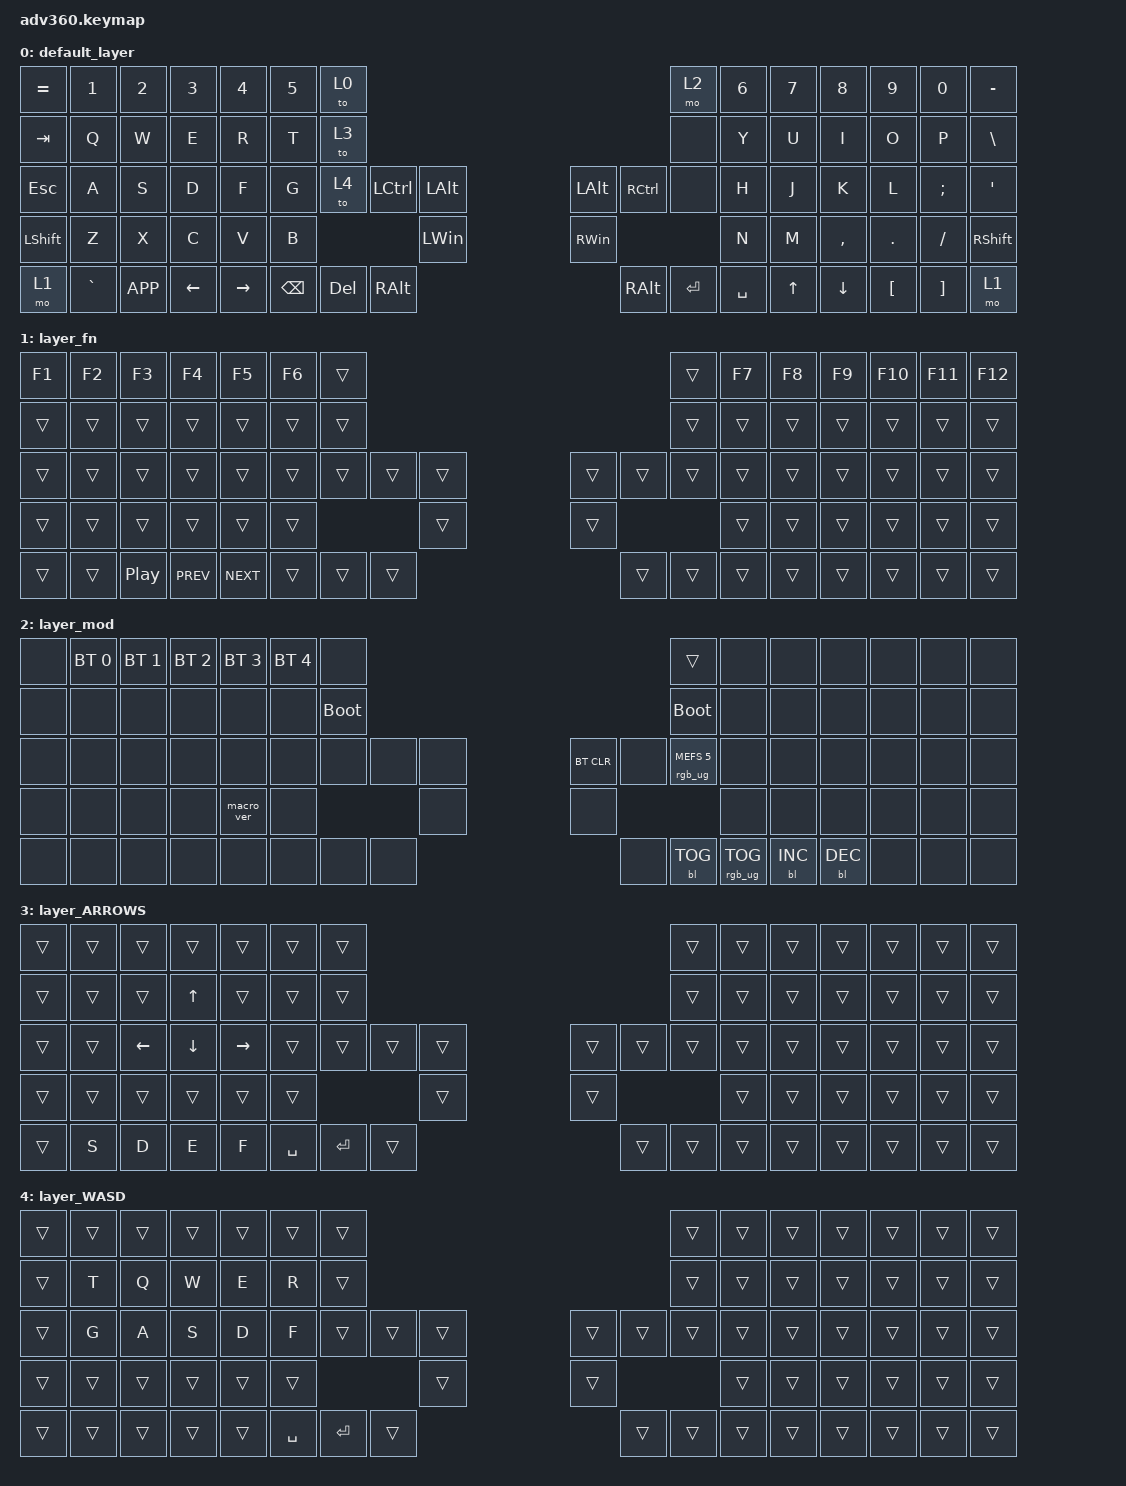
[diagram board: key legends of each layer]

/*
 * Copyright (c) 2020 The ZMK Contributors
 *
 * SPDX-License-Identifier: MIT
 */


/* THIS FILE WAS GENERATED!
 *
 * This file was generated automatically. You may or may not want to
 * edit it directly.
 */

#include <behaviors.dtsi>
#include <dt-bindings/zmk/keys.h>
#include <dt-bindings/zmk/bt.h>
#include <dt-bindings/zmk/rgb.h>
#include <dt-bindings/zmk/backlight.h>

/ {
  behaviors {
    #include "macros.dtsi"
    #include "version.dtsi"

    hm: homerow_mods {
        compatible = "zmk,behavior-hold-tap";
        label = "HOMEROW_MODS";
        #binding-cells = <2>;
        tapping-term-ms = <200>;
        quick_tap_ms = <175>;
        flavor = "tap-preferred";
        bindings = <&kp>, <&kp>;
    };
  };

    keymap {
        compatible = "zmk,keymap";


        default_layer {
            bindings = <
 &kp EQUAL     &kp N1     &kp N2    &kp N3     &kp N4  &kp N5               &to 0                                                                          &mo 2  &kp N6  &kp N7     &kp N8    &kp N9    &kp N0  &kp MINUS
   &kp TAB      &kp Q      &kp W     &kp E      &kp R   &kp T               &to 3                                                                          &none   &kp Y   &kp U      &kp I     &kp O     &kp P   &kp BSLH
   &kp ESC      &kp A      &kp S     &kp D      &kp F   &kp G               &to 4  &kp LCTRL       &kp LALT                   &kp LEFT_ALT  &kp RCTRL      &none   &kp H   &kp J      &kp K     &kp L  &kp SEMI    &kp SQT
 &kp LSHFT      &kp Z      &kp X     &kp C      &kp V   &kp B                                  &kp LEFT_WIN                  &kp RIGHT_WIN                         &kp N   &kp M  &kp COMMA   &kp DOT  &kp FSLH  &kp RSHFT
     &mo 1  &kp GRAVE  &kp K_APP  &kp LEFT  &kp RIGHT                    &kp BSPC    &kp DEL  &kp RIGHT_ALT                  &kp RIGHT_ALT  &kp ENTER  &kp SPACE          &kp UP   &kp DOWN  &kp LBKT  &kp RBKT      &mo 1
            >;
        };

        layer_fn {
            bindings = <
 &kp F1  &kp F2    &kp F3      &kp F4      &kp F5  &kp F6            &trans                                                  &trans  &kp F7  &kp F8  &kp F9  &kp F10  &kp F11  &kp F12
 &trans  &trans    &trans      &trans      &trans  &trans            &trans                                                  &trans  &trans  &trans  &trans   &trans   &trans   &trans
 &trans  &trans    &trans      &trans      &trans  &trans            &trans  &trans  &trans                  &trans  &trans  &trans  &trans  &trans  &trans   &trans   &trans   &trans
 &trans  &trans    &trans      &trans      &trans  &trans                            &trans                  &trans                  &trans  &trans  &trans   &trans   &trans   &trans
 &trans  &trans  &kp C_PP  &kp C_PREV  &kp C_NEXT                    &trans  &trans  &trans                  &trans  &trans  &trans          &trans  &trans   &trans   &trans   &trans
            >;
        };

        layer_mod {
            bindings = <
  &none  &bt BT_SEL 0  &bt BT_SEL 1  &bt BT_SEL 2  &bt BT_SEL 3  &bt BT_SEL 4                  &none                                                                          &trans   &none       &none       &none   &none   &none   &none
  &none         &none         &none         &none         &none         &none            &bootloader                                                                     &bootloader   &none       &none       &none   &none   &none   &none
  &none         &none         &none         &none         &none         &none                  &none   &none   &none                  &bt BT_CLR       &none  &rgb_ug RGB_MEFS_CMD 5   &none       &none       &none   &none   &none   &none
  &none         &none         &none         &none    &macro_ver         &none                                  &none                       &none                                       &none       &none       &none   &none   &none   &none
  &none         &none         &none         &none         &none                                &none   &none   &none                       &none  &bl BL_TOG         &rgb_ug RGB_TOG          &bl BL_INC  &bl BL_DEC   &none   &none   &none
            >;
        };

        layer_ARROWS {
            bindings = <
 &trans  &trans    &trans    &trans     &trans  &trans               &trans                                                     &trans  &trans  &trans  &trans  &trans  &trans  &trans
 &trans  &trans    &trans    &kp UP     &trans  &trans               &trans                                                     &trans  &trans  &trans  &trans  &trans  &trans  &trans
 &trans  &trans  &kp LEFT  &kp DOWN  &kp RIGHT  &trans               &trans     &trans  &trans                  &trans  &trans  &trans  &trans  &trans  &trans  &trans  &trans  &trans
 &trans  &trans    &trans    &trans     &trans  &trans                                  &trans                  &trans                  &trans  &trans  &trans  &trans  &trans  &trans
 &trans   &kp S     &kp D     &kp E      &kp F                    &kp SPACE  &kp ENTER  &trans                  &trans  &trans  &trans          &trans  &trans  &trans  &trans  &trans
            >;
        };

        layer_WASD {
            bindings = <
 &trans  &trans  &trans  &trans  &trans  &trans               &trans                                                     &trans  &trans  &trans  &trans  &trans  &trans  &trans
 &trans   &kp T   &kp Q   &kp W   &kp E   &kp R               &trans                                                     &trans  &trans  &trans  &trans  &trans  &trans  &trans
 &trans   &kp G   &kp A   &kp S   &kp D   &kp F               &trans     &trans  &trans                  &trans  &trans  &trans  &trans  &trans  &trans  &trans  &trans  &trans
 &trans  &trans  &trans  &trans  &trans  &trans                                  &trans                  &trans                  &trans  &trans  &trans  &trans  &trans  &trans
 &trans  &trans  &trans  &trans  &trans                    &kp SPACE  &kp ENTER  &trans                  &trans  &trans  &trans          &trans  &trans  &trans  &trans  &trans
            >;
        };

    };
};
